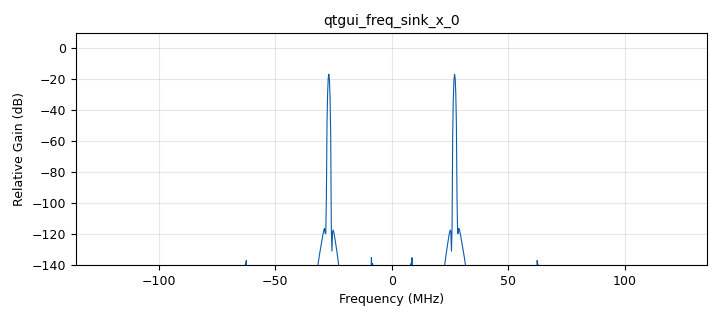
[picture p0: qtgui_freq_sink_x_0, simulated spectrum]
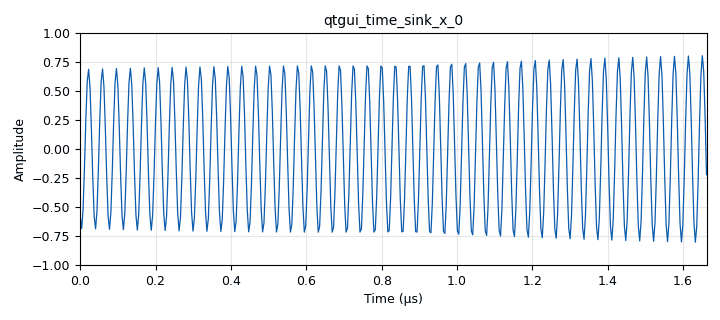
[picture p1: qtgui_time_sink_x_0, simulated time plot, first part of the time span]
options:
  parameters:
    author: Edwar_Camargo_Andres_Tarazona
    copyright: Edwar_Camargo_Andres_Tarazona
    generate_options: qt_gui
    id: PruebaCalculoPotencia_L1B
    output_language: python
    title: pCalculoPotencia_L1B
  states: {}

blocks:
- name: A
  id: variable_qtgui_range
  parameters:
    label: Amplitud
    orient: Qt.Horizontal
    start: '0'
    step: '1'
    stop: '10'
    value: '1'
  states: {}
- name: samp_rate
  id: variable
  parameters:
    value: '270710000'
  states: {}
- name: CalculoPotenciaL1BG5_0
  id: CalculoPotenciaL1BG5
  parameters:
    l_vect: '1024'
  states: {}
- name: analog_sig_source_x_0
  id: analog_sig_source_x
  parameters:
    amp: A
    freq: '71000'
    offset: '0'
    phase: '0'
    samp_rate: samp_rate
    type: float
    waveform: analog.GR_SAW_WAVE
  states: {}
- name: analog_sig_source_x_0_0
  id: analog_sig_source_x
  parameters:
    amp: A
    freq: '27000000'
    offset: '0'
    phase: '0'
    samp_rate: samp_rate
    type: float
    waveform: analog.GR_COS_WAVE
  states: {}
- name: blocks_multiply_xx_0
  id: blocks_multiply_xx
  parameters:
    type: float
  states: {}
- name: qtgui_freq_sink_x_0
  id: qtgui_freq_sink_x
  parameters:
    bw: samp_rate
    fc: '0'
    fftsize: '1024'
    type: float
    wintype: firdes.WIN_BLACKMAN_hARRIS
  states: {}
- name: qtgui_time_sink_x_0
  id: qtgui_time_sink_x
  parameters:
    size: '1024'
    srate: samp_rate
    type: float
  states: {}

connections:
- [analog_sig_source_x_0, '0', blocks_multiply_xx_0, '0']
- [analog_sig_source_x_0_0, '0', blocks_multiply_xx_0, '1']
- [blocks_multiply_xx_0, '0', CalculoPotenciaL1BG5_0, '0']
- [blocks_multiply_xx_0, '0', qtgui_freq_sink_x_0, '0']
- [blocks_multiply_xx_0, '0', qtgui_time_sink_x_0, '0']

metadata:
  file_format: 1
